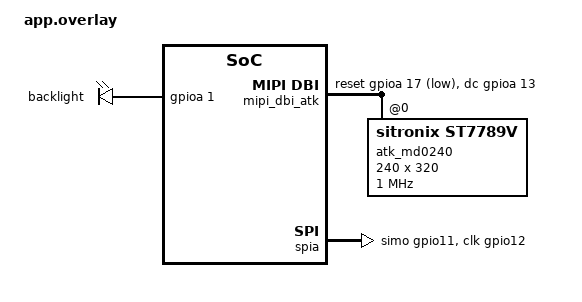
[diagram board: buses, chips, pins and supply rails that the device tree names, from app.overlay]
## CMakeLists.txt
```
# Copyright (c) 2026, Quincy.W <wangqyfm@foxmail.com>
# SPDX-License-Identifier: Apache-2.0

cmake_minimum_required(VERSION 3.20.0)

find_package(Zephyr REQUIRED HINTS $ENV{ZEPHYR_BASE})
project(g32r5_lvgl_st7789)

# Upstream LVGL sample. Backlight and the panel display device are local:
# the stock ST7789 driver does not release chip-select after each command.
target_sources(app PRIVATE
	${ZEPHYR_BASE}/samples/subsys/display/lvgl/src/main.c
	src/backlight.c
	src/display_panel.c
)
```

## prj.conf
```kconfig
CONFIG_GPIO=y
CONFIG_SPI=y
CONFIG_DISPLAY=y
CONFIG_ST7789V=n
CONFIG_MIPI_DBI=n
CONFIG_LED=y
CONFIG_LED_GPIO=y

CONFIG_LVGL=y
CONFIG_LV_USE_LABEL=y
CONFIG_LV_FONT_MONTSERRAT_14=y
CONFIG_LV_Z_MEM_POOL_SIZE=7680
CONFIG_LV_USE_THEME_DEFAULT=n
CONFIG_LV_Z_VDB_SIZE=1

CONFIG_SERIAL=y
CONFIG_CONSOLE=y
CONFIG_UART_CONSOLE=y
CONFIG_PRINTK=y
CONFIG_LOG=y
CONFIG_LOG_MODE_IMMEDIATE=y
CONFIG_LV_USE_LOG=y
CONFIG_LV_LOG_LEVEL_ERROR=y
CONFIG_DISPLAY_LOG_LEVEL_ERR=y
CONFIG_SPI_LOG_LEVEL_ERR=y

CONFIG_MAIN_STACK_SIZE=3072
CONFIG_ISR_STACK_SIZE=1024
CONFIG_SYSTEM_WORKQUEUE_STACK_SIZE=512
CONFIG_HEAP_MEM_POOL_SIZE=256
```

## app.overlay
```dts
/*
 * Copyright (c) 2026, Quincy.W <wangqyfm@foxmail.com>
 *
 * SPDX-License-Identifier: Apache-2.0
 *
 * ATK-MD0240, 4-wire SPI, table 2.1.1. Same GPIO numbers on both eval
 * boards. Solder R9, R8 and R6; leave R10, R7 and R5 open.
 *
 *   1 VCC3.3  -> 3.3V
 *   2 LCD_CS  -> GPIO0   active low, software chip-select
 *   3 LCD_SDA -> GPIO11  SPIA SIMO
 *   4 LCD_RST -> GPIO17  active low
 *   5 SLCD_DC -> GPIO13  low = command, high = data
 *   6 SLCD_SCK-> GPIO12  SPIA CLK
 *   7 LCD_PWR -> GPIO1   active high backlight
 *   8 GND     -> GND
 *
 * Hardware STE is not muxed. 1 MHz, mode 3. The glass is 240 by 320.
 * Mode 3 matches the edge this panel samples. Chip-select stays low
 * across each command and its pixels so the parameters actually latch.
 * The controller shows primary colors after INVON, which the ST7789
 * driver sends unless inversion-off is set.
 */

#include <zephyr/dt-bindings/display/panel.h>

/ {
	chosen {
		zephyr,display = &atk_md0240;
	};

	lcd_pwr: lcd-pwr {
		compatible = "gpio-leds";

		backlight: backlight {
			gpios = <&gpioa 1 GPIO_ACTIVE_HIGH>;
		};
	};

	mipi_dbi_atk: mipi_dbi_atk_md0240 {
		compatible = "zephyr,mipi-dbi-spi";
		spi-dev = <&spia>;
		dc-gpios = <&gpioa 13 GPIO_ACTIVE_HIGH>;
		reset-gpios = <&gpioa 17 GPIO_ACTIVE_LOW>;
		write-only;
		#address-cells = <1>;
		#size-cells = <0>;

		atk_md0240: st7789v@0 {
			compatible = "sitronix,st7789v";
			reg = <0>;
			mipi-max-frequency = <1000000>;
			mipi-cpol;
			mipi-cpha;
			mipi-hold-cs;
			mipi-mode = "MIPI_DBI_MODE_SPI_4WIRE";
			width = <240>;
			height = <320>;
			x-offset = <0>;
			y-offset = <0>;
			mdac = <0x00>;
			pixel-format = <PANEL_PIXEL_FORMAT_RGB_565X>;
			ready-time-ms = <120>;
		};
	};
};

&spia {
	status = "okay";
	cs-gpios = <&gpioa 0 GPIO_ACTIVE_LOW>;
	pinctrl-0 = <&spia_simo_gpio11 &spia_clk_gpio12>;
	pinctrl-names = "default";
};
```

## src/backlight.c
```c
/*
 * Copyright (c) 2026, Quincy.W <wangqyfm@foxmail.com>
 *
 * SPDX-License-Identifier: Apache-2.0
 *
 * ATK-MD0240 LCD_PWR has a pulldown. The panel stays dark until this
 * pin is driven high. The ST7789 driver has no backlight GPIO.
 */

#include <zephyr/device.h>
#include <zephyr/drivers/led.h>
#include <zephyr/kernel.h>

static int lcd_backlight_on(void)
{
	const struct device *backlight = DEVICE_DT_GET(DT_NODELABEL(lcd_pwr));
	int ret;

	if (!device_is_ready(backlight)) {
		printk("lcd backlight device is not ready\n");
		return -ENODEV;
	}

	ret = led_on(backlight, 0);
	if (ret < 0) {
		printk("lcd backlight on failed: %d\n", ret);
	}

	return ret;
}

SYS_INIT(lcd_backlight_on, APPLICATION, 0);
```

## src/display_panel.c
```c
/*
 * Copyright (c) 2026, Quincy.W <wangqyfm@foxmail.com>
 *
 * SPDX-License-Identifier: Apache-2.0
 *
 * ST7789 display device for the LVGL sample. The Zephyr MIPI DBI helper
 * either drops chip-select between the command byte and its payload, or
 * leaves it low for the whole session. This glass latches a command only
 * when chip-select stays low for that command plus its data and then rises.
 * Mode 3, INVON (0x21): 0xF800 is pure red, 0x07E0 pure green, 0x001F pure blue.
 */

#include <stdint.h>
#include <string.h>

#include <zephyr/device.h>
#include <zephyr/drivers/display.h>
#include <zephyr/drivers/gpio.h>
#include <zephyr/drivers/spi.h>
#include <zephyr/kernel.h>
#include <lvgl.h>

#define PANEL_NODE DT_NODELABEL(atk_md0240)
#define PANEL_W    DT_PROP(PANEL_NODE, width)
#define PANEL_H    DT_PROP(PANEL_NODE, height)

static const struct device *const spi = DEVICE_DT_GET(DT_NODELABEL(spia));
static const struct gpio_dt_spec dc = GPIO_DT_SPEC_GET(DT_NODELABEL(mipi_dbi_atk), dc_gpios);
static const struct gpio_dt_spec reset = GPIO_DT_SPEC_GET(DT_NODELABEL(mipi_dbi_atk), reset_gpios);
static const struct gpio_dt_spec cs_gpio = GPIO_DT_SPEC_GET_BY_IDX(DT_NODELABEL(spia), cs_gpios, 0);

static struct spi_config spi_cfg = {
	.frequency = DT_PROP(PANEL_NODE, mipi_max_frequency),
	.operation = SPI_OP_MODE_CONTROLLER | SPI_WORD_SET(8) | SPI_HOLD_ON_CS | SPI_MODE_CPOL |
		     SPI_MODE_CPHA,
	.cs = {
		.gpio = GPIO_DT_SPEC_GET_BY_IDX(DT_NODELABEL(spia), cs_gpios, 0),
		.delay = 10,
		.cs_is_gpio = true,
	},
};

static K_MUTEX_DEFINE(panel_lock);

static int panel_bytes(bool is_data, const uint8_t *buf, size_t len)
{
	const struct spi_buf tx = {
		.buf = (void *)buf,
		.len = len,
	};
	const struct spi_buf_set txs = {
		.buffers = &tx,
		.count = 1,
	};
	int ret;

	ret = gpio_pin_set_dt(&dc, is_data ? 1 : 0);
	if (ret < 0) {
		return ret;
	}

	return spi_write(spi, &spi_cfg, &txs);
}

static int panel_cmd(uint8_t cmd, const uint8_t *data, size_t len)
{
	int ret;

	ret = panel_bytes(false, &cmd, 1);
	if ((ret == 0) && (data != NULL) && (len > 0U)) {
		ret = panel_bytes(true, data, len);
	}

	spi_release(spi, &spi_cfg);
	return ret;
}

static int panel_reset(void)
{
	int ret;

	ret = gpio_pin_set_dt(&cs_gpio, 0);
	if (ret < 0) {
		return ret;
	}

	ret = gpio_pin_configure_dt(&reset, GPIO_OUTPUT_INACTIVE);
	if (ret < 0) {
		return ret;
	}

	gpio_pin_set_dt(&reset, 1);
	k_msleep(10);
	gpio_pin_set_dt(&reset, 0);
	k_msleep(120);
	return 0;
}

static int panel_hw_init(void)
{
	static const uint8_t colmod = 0x55;
	uint8_t madctl = DT_PROP(PANEL_NODE, mdac);
	int ret;

	ret = panel_reset();
	if (ret < 0) {
		return ret;
	}

	ret = panel_cmd(0x01, NULL, 0);
	if (ret < 0) {
		return ret;
	}
	k_msleep(120);

	ret = panel_cmd(0x11, NULL, 0);
	if (ret < 0) {
		return ret;
	}
	k_msleep(120);

	ret = panel_cmd(0x36, &madctl, 1);
	ret |= panel_cmd(0x3A, &colmod, 1);
	ret |= panel_cmd(0x21, NULL, 0);
	ret |= panel_cmd(0x13, NULL, 0);
	ret |= panel_cmd(0x29, NULL, 0);
	return ret;
}

static int panel_window(uint16_t x, uint16_t y, uint16_t w, uint16_t h)
{
	uint8_t arg[4];
	uint16_t x1 = x + w - 1U;
	uint16_t y1 = y + h - 1U;
	int ret;

	arg[0] = (uint8_t)(x >> 8);
	arg[1] = (uint8_t)x;
	arg[2] = (uint8_t)(x1 >> 8);
	arg[3] = (uint8_t)x1;
	ret = panel_cmd(0x2A, arg, 4);
	arg[0] = (uint8_t)(y >> 8);
	arg[1] = (uint8_t)y;
	arg[2] = (uint8_t)(y1 >> 8);
	arg[3] = (uint8_t)y1;
	ret |= panel_cmd(0x2B, arg, 4);
	return ret;
}

static int panel_blanking_on(const struct device *dev)
{
	int ret;

	ARG_UNUSED(dev);
	k_mutex_lock(&panel_lock, K_FOREVER);
	ret = panel_cmd(0x28, NULL, 0);
	k_mutex_unlock(&panel_lock);
	return ret;
}

static int panel_blanking_off(const struct device *dev)
{
	int ret;

	ARG_UNUSED(dev);
	k_mutex_lock(&panel_lock, K_FOREVER);
	ret = panel_cmd(0x29, NULL, 0);
	k_mutex_unlock(&panel_lock);
	return ret;
}

static int panel_write(const struct device *dev, const uint16_t x, const uint16_t y,
		       const struct display_buffer_descriptor *desc, const void *buf)
{
	const uint8_t *src = buf;
	uint16_t pitch = desc->pitch != 0U ? desc->pitch : desc->width;
	uint16_t row;
	uint8_t cmd = 0x2C;
	int ret;
	static bool first = true;

	ARG_UNUSED(dev);

	if ((desc->width == 0U) || (desc->height == 0U) || (buf == NULL)) {
		return -EINVAL;
	}

	if (first) {
		first = false;
		printk("panel: first write %ux%u at %u,%u\n", desc->width, desc->height, x, y);
	}

	k_mutex_lock(&panel_lock, K_FOREVER);
	ret = panel_window(x, y, desc->width, desc->height);
	if (ret == 0) {
		ret = panel_bytes(false, &cmd, 1);
	}
	for (row = 0U; (ret == 0) && (row < desc->height); row++) {
		ret = panel_bytes(true, src, (size_t)desc->width * 2U);
		src += (size_t)pitch * 2U;
	}
	spi_release(spi, &spi_cfg);
	k_mutex_unlock(&panel_lock);
	return ret;
}

static void panel_capabilities(const struct device *dev, struct display_capabilities *caps)
{
	ARG_UNUSED(dev);
	memset(caps, 0, sizeof(*caps));
	caps->x_resolution = PANEL_W;
	caps->y_resolution = PANEL_H;
	caps->supported_pixel_formats = PIXEL_FORMAT_RGB_565X;
	caps->current_pixel_format = PIXEL_FORMAT_RGB_565X;
	caps->current_orientation = DISPLAY_ORIENTATION_NORMAL;
}

static int panel_set_pixel_format(const struct device *dev, const enum display_pixel_format format)
{
	ARG_UNUSED(dev);
	return (format == PIXEL_FORMAT_RGB_565X) ? 0 : -ENOTSUP;
}

static int panel_init(const struct device *dev)
{
	int ret;

	ARG_UNUSED(dev);

	if (!device_is_ready(spi) || !gpio_is_ready_dt(&dc) || !gpio_is_ready_dt(&reset) ||
	    !gpio_is_ready_dt(&cs_gpio)) {
		printk("panel: spi or gpio not ready\n");
		return -ENODEV;
	}

	ret = gpio_pin_configure_dt(&dc, GPIO_OUTPUT_INACTIVE);
	if (ret < 0) {
		printk("panel: dc config %d\n", ret);
		return ret;
	}

	ret = panel_hw_init();
	printk("panel: init %d\n", ret);
	return ret;
}

static DEVICE_API(display, panel_api) = {
	.blanking_on = panel_blanking_on,
	.blanking_off = panel_blanking_off,
	.write = panel_write,
	.get_capabilities = panel_capabilities,
	.set_pixel_format = panel_set_pixel_format,
};

DEVICE_DT_DEFINE(PANEL_NODE, panel_init, NULL, NULL, NULL, POST_KERNEL, CONFIG_DISPLAY_INIT_PRIORITY,
		 &panel_api);

static int panel_marker(void)
{
	const struct device *disp = DEVICE_DT_GET(PANEL_NODE);
	static uint8_t line[PANEL_W * 2U];
	struct display_buffer_descriptor desc = {
		.buf_size = sizeof(line),
		.width = PANEL_W,
		.height = 1,
		.pitch = PANEL_W,
	};
	uint16_t y;
	int ret = 0;
	size_t i;

	lv_mem_monitor_t mon;

	lv_mem_monitor(&mon);
	printk("panel: lv total %u free %u biggest %u\n", (unsigned int)mon.total_size,
	       (unsigned int)mon.free_size, (unsigned int)mon.free_biggest_size);

	for (i = 0U; i < sizeof(line); i += 2U) {
		line[i] = 0x07;
		line[i + 1U] = 0xE0;
	}

	for (y = 0U; (ret == 0) && (y < 40U); y++) {
		ret = display_write(disp, 0, y, &desc, line);
	}

	printk("panel: green band %d\n", ret);
	return 0;
}

SYS_INIT(panel_marker, APPLICATION, 99);
```

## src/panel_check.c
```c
/*
 * Copyright (c) 2026, Quincy.W <wangqyfm@foxmail.com>
 *
 * SPDX-License-Identifier: Apache-2.0
 *
 * Mode 3 is the edge this glass samples. INVON (0x21) is required for a
 * primary color: 0xF800 is pure red, 0x07E0 pure green, 0x001F pure blue.
 * INVOFF shows the complement, so red bytes look cyan.
 */

#include <stdint.h>

#include <zephyr/drivers/gpio.h>
#include <zephyr/drivers/spi.h>
#include <zephyr/kernel.h>

#define PANEL_HZ   1000000U
#define PANEL_W    240U
#define PANEL_ROWS 320U

static const struct device *const spi = DEVICE_DT_GET(DT_NODELABEL(spia));
static const struct gpio_dt_spec dc = GPIO_DT_SPEC_GET(DT_NODELABEL(mipi_dbi_atk), dc_gpios);
static const struct gpio_dt_spec reset = GPIO_DT_SPEC_GET(DT_NODELABEL(mipi_dbi_atk), reset_gpios);
static const struct gpio_dt_spec cs_gpio = GPIO_DT_SPEC_GET_BY_IDX(DT_NODELABEL(spia), cs_gpios, 0);

static struct spi_config panel_cfg(uint16_t mode_flags)
{
	struct spi_config cfg = {
		.frequency = PANEL_HZ,
		.operation = SPI_OP_MODE_CONTROLLER | SPI_WORD_SET(8) | SPI_HOLD_ON_CS | mode_flags,
		.cs = {
			.gpio = cs_gpio,
			.delay = 10,
			.cs_is_gpio = true,
		},
	};

	return cfg;
}

static int panel_bytes(struct spi_config *cfg, bool is_data, const uint8_t *buf, size_t len)
{
	const struct spi_buf tx = {
		.buf = (void *)buf,
		.len = len,
	};
	const struct spi_buf_set txs = {
		.buffers = &tx,
		.count = 1,
	};
	int ret;

	ret = gpio_pin_set_dt(&dc, is_data ? 1 : 0);
	if (ret < 0) {
		return ret;
	}

	return spi_write(spi, cfg, &txs);
}

static int panel_cmd(struct spi_config *cfg, uint8_t cmd, const uint8_t *data, size_t len)
{
	int ret;

	ret = panel_bytes(cfg, false, &cmd, 1);
	if ((ret == 0) && (data != NULL) && (len > 0U)) {
		ret = panel_bytes(cfg, true, data, len);
	}

	spi_release(spi, cfg);
	return ret;
}

static int panel_reset(void)
{
	int ret;

	ret = gpio_pin_set_dt(&cs_gpio, 0);
	if (ret < 0) {
		return ret;
	}

	ret = gpio_pin_configure_dt(&reset, GPIO_OUTPUT_INACTIVE);
	if (ret < 0) {
		return ret;
	}

	gpio_pin_set_dt(&reset, 1);
	k_msleep(10);
	gpio_pin_set_dt(&reset, 0);
	k_msleep(120);
	return 0;
}

static int panel_wake(struct spi_config *cfg, uint8_t madctl)
{
	static const uint8_t colmod = 0x55;
	int ret;

	ret = panel_reset();
	if (ret < 0) {
		return ret;
	}

	ret = panel_cmd(cfg, 0x01, NULL, 0);
	if (ret < 0) {
		return ret;
	}
	k_msleep(120);

	ret = panel_cmd(cfg, 0x11, NULL, 0);
	if (ret < 0) {
		return ret;
	}
	k_msleep(120);

	ret = panel_cmd(cfg, 0x36, &madctl, 1);
	ret |= panel_cmd(cfg, 0x3A, &colmod, 1);
	ret |= panel_cmd(cfg, 0x21, NULL, 0);
	ret |= panel_cmd(cfg, 0x13, NULL, 0);
	ret |= panel_cmd(cfg, 0x29, NULL, 0);
	k_msleep(20);
	return ret;
}

static int panel_fill(struct spi_config *cfg, uint8_t hi, uint8_t lo)
{
	static uint8_t line[PANEL_W * 2U];
	uint8_t window[4];
	uint8_t cmd;
	size_t i;
	int ret;

	for (i = 0; i < sizeof(line); i += 2U) {
		line[i] = hi;
		line[i + 1U] = lo;
	}

	window[0] = 0x00;
	window[1] = 0x00;
	window[2] = (uint8_t)((PANEL_W - 1U) >> 8);
	window[3] = (uint8_t)(PANEL_W - 1U);
	ret = panel_cmd(cfg, 0x2A, window, 4);
	window[2] = (uint8_t)((PANEL_ROWS - 1U) >> 8);
	window[3] = (uint8_t)(PANEL_ROWS - 1U);
	ret |= panel_cmd(cfg, 0x2B, window, 4);
	if (ret < 0) {
		return ret;
	}

	cmd = 0x2C;
	ret = panel_bytes(cfg, false, &cmd, 1);
	for (i = 0; (ret == 0) && (i < PANEL_ROWS); i++) {
		ret = panel_bytes(cfg, true, line, sizeof(line));
	}
	spi_release(spi, cfg);
	return ret;
}

static int panel_show(const char *name, uint16_t mode_flags, uint8_t hi, uint8_t lo)
{
	struct spi_config cfg = panel_cfg(mode_flags);
	int ret;

	printk("panel %s: cs pin %u, reset then fill\n", name, cs_gpio.pin);
	ret = panel_wake(&cfg, 0x00);
	printk("panel %s: wake %d\n", name, ret);
	if (ret < 0) {
		return ret;
	}

	ret = panel_fill(&cfg, hi, lo);
	printk("panel %s: fill %d, red for 3s then lvgl\n", name, ret);
	k_msleep(3000);
	return ret;
}

static int panel_check(void)
{
	int ret;

	if (!device_is_ready(spi) || !gpio_is_ready_dt(&dc) || !gpio_is_ready_dt(&reset) ||
	    !gpio_is_ready_dt(&cs_gpio)) {
		printk("panel check: pin or spi not ready\n");
		return -ENODEV;
	}

	return panel_show("mode3 red", SPI_MODE_CPOL | SPI_MODE_CPHA, 0xF8, 0x00);
}

SYS_INIT(panel_check, APPLICATION, 50);
```
